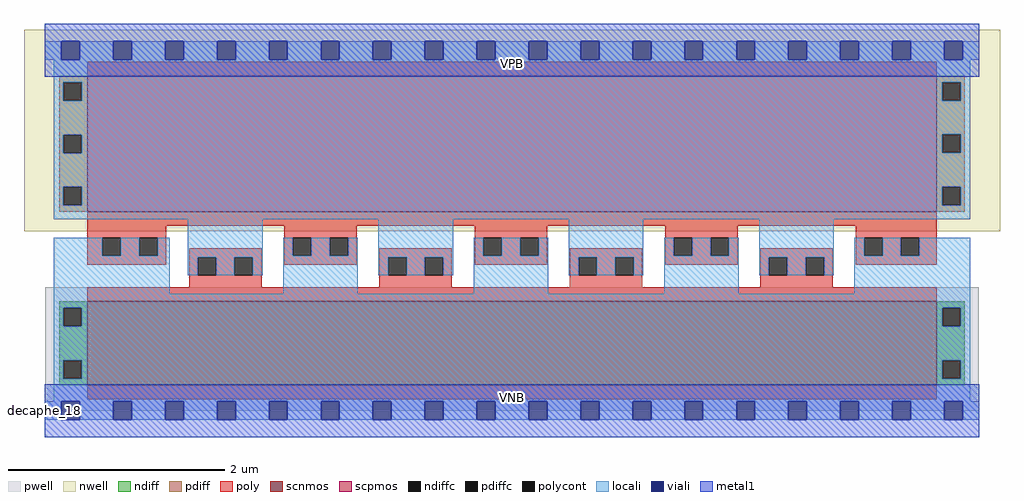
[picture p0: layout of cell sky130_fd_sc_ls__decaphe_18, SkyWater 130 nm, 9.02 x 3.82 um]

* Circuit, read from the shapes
.subckt sky130_fd_sc_ls__decaphe_18 VGND VNB VPB VPWR
XM1 VGND VPWR VGND VNB sky130_fd_pr__nfet_01v8 w=0.775 l=7.85
XM2 VPWR VGND VPWR VPB sky130_fd_pr__pfet_01v8 w=1.255 l=7.85
.ends

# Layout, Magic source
magic
tech sky130A
magscale 1 2
<< nwell >>
rect -38 332 1766 704
<< pwell >>
rect 1 49 1727 228
rect 0 0 1728 49
<< scnmos >>
rect 79 47 1649 202
<< scpmos >>
rect 79 368 1649 619
<< ndiff >>
rect 27 190 79 202
rect 27 156 35 190
rect 69 156 79 190
rect 27 93 79 156
rect 27 59 35 93
rect 69 59 79 93
rect 27 47 79 59
rect 1649 190 1701 202
rect 1649 156 1659 190
rect 1693 156 1701 190
rect 1649 93 1701 156
rect 1649 59 1659 93
rect 1693 59 1701 93
rect 1649 47 1701 59
<< pdiff >>
rect 27 607 79 619
rect 27 573 35 607
rect 69 573 79 607
rect 27 510 79 573
rect 27 476 35 510
rect 69 476 79 510
rect 27 414 79 476
rect 27 380 35 414
rect 69 380 79 414
rect 27 368 79 380
rect 1649 607 1701 619
rect 1649 573 1659 607
rect 1693 573 1701 607
rect 1649 511 1701 573
rect 1649 477 1659 511
rect 1693 477 1701 511
rect 1649 414 1701 477
rect 1649 380 1659 414
rect 1693 380 1701 414
rect 1649 368 1701 380
<< ndiffc >>
rect 35 156 69 190
rect 35 59 69 93
rect 1659 156 1693 190
rect 1659 59 1693 93
<< pdiffc >>
rect 35 573 69 607
rect 35 476 69 510
rect 35 380 69 414
rect 1659 573 1693 607
rect 1659 477 1693 511
rect 1659 380 1693 414
<< poly >>
rect 79 619 1649 645
rect 79 342 1649 368
rect 79 320 225 342
rect 79 286 107 320
rect 141 286 175 320
rect 209 286 225 320
rect 443 320 577 342
rect 79 270 225 286
rect 267 284 401 300
rect 267 250 283 284
rect 317 250 351 284
rect 385 250 401 284
rect 443 286 459 320
rect 493 286 527 320
rect 561 286 577 320
rect 795 320 929 342
rect 443 270 577 286
rect 619 284 753 300
rect 267 228 401 250
rect 619 250 635 284
rect 669 250 703 284
rect 737 250 753 284
rect 795 286 811 320
rect 845 286 879 320
rect 913 286 929 320
rect 1147 320 1281 342
rect 795 270 929 286
rect 971 284 1105 300
rect 619 228 753 250
rect 971 250 987 284
rect 1021 250 1055 284
rect 1089 250 1105 284
rect 1147 286 1163 320
rect 1197 286 1231 320
rect 1265 286 1281 320
rect 1499 320 1649 342
rect 1147 270 1281 286
rect 1323 284 1457 300
rect 971 228 1105 250
rect 1323 250 1339 284
rect 1373 250 1407 284
rect 1441 250 1457 284
rect 1499 286 1515 320
rect 1549 286 1583 320
rect 1617 286 1649 320
rect 1499 270 1649 286
rect 1323 228 1457 250
rect 79 202 1649 228
rect 79 21 1649 47
<< polycont >>
rect 107 286 141 320
rect 175 286 209 320
rect 283 250 317 284
rect 351 250 385 284
rect 459 286 493 320
rect 527 286 561 320
rect 635 250 669 284
rect 703 250 737 284
rect 811 286 845 320
rect 879 286 913 320
rect 987 250 1021 284
rect 1055 250 1089 284
rect 1163 286 1197 320
rect 1231 286 1265 320
rect 1339 250 1373 284
rect 1407 250 1441 284
rect 1515 286 1549 320
rect 1583 286 1617 320
<< locali >>
rect 0 649 31 683
rect 65 649 127 683
rect 161 649 223 683
rect 257 649 319 683
rect 353 649 415 683
rect 449 649 511 683
rect 545 649 607 683
rect 641 649 703 683
rect 737 649 799 683
rect 833 649 895 683
rect 929 649 991 683
rect 1025 649 1087 683
rect 1121 649 1183 683
rect 1217 649 1279 683
rect 1313 649 1375 683
rect 1409 649 1471 683
rect 1505 649 1567 683
rect 1601 649 1663 683
rect 1697 649 1728 683
rect 17 607 1711 649
rect 17 573 35 607
rect 69 573 1659 607
rect 1693 573 1711 607
rect 17 511 1711 573
rect 17 510 1659 511
rect 17 476 35 510
rect 69 477 1659 510
rect 1693 477 1711 511
rect 69 476 1711 477
rect 17 414 1711 476
rect 17 380 35 414
rect 69 380 1659 414
rect 1693 380 1711 414
rect 17 354 1711 380
rect 17 286 107 320
rect 141 286 175 320
rect 209 286 231 320
rect 17 216 231 286
rect 265 284 403 354
rect 265 250 283 284
rect 317 250 351 284
rect 385 250 403 284
rect 441 286 459 320
rect 493 286 527 320
rect 561 286 579 320
rect 441 216 579 286
rect 617 284 755 354
rect 617 250 635 284
rect 669 250 703 284
rect 737 250 755 284
rect 793 286 811 320
rect 845 286 879 320
rect 913 286 931 320
rect 793 216 931 286
rect 969 284 1107 354
rect 969 250 987 284
rect 1021 250 1055 284
rect 1089 250 1107 284
rect 1145 286 1163 320
rect 1197 286 1231 320
rect 1265 286 1283 320
rect 1145 216 1283 286
rect 1321 284 1459 354
rect 1321 250 1339 284
rect 1373 250 1407 284
rect 1441 250 1459 284
rect 1497 286 1515 320
rect 1549 286 1583 320
rect 1617 286 1711 320
rect 1497 216 1711 286
rect 17 190 1711 216
rect 17 156 35 190
rect 69 156 1659 190
rect 1693 156 1711 190
rect 17 93 1711 156
rect 17 59 35 93
rect 69 59 1659 93
rect 1693 59 1711 93
rect 17 17 1711 59
rect 0 -17 31 17
rect 65 -17 127 17
rect 161 -17 223 17
rect 257 -17 319 17
rect 353 -17 415 17
rect 449 -17 511 17
rect 545 -17 607 17
rect 641 -17 703 17
rect 737 -17 799 17
rect 833 -17 895 17
rect 929 -17 991 17
rect 1025 -17 1087 17
rect 1121 -17 1183 17
rect 1217 -17 1279 17
rect 1313 -17 1375 17
rect 1409 -17 1471 17
rect 1505 -17 1567 17
rect 1601 -17 1663 17
rect 1697 -17 1728 17
<< viali >>
rect 31 649 65 683
rect 127 649 161 683
rect 223 649 257 683
rect 319 649 353 683
rect 415 649 449 683
rect 511 649 545 683
rect 607 649 641 683
rect 703 649 737 683
rect 799 649 833 683
rect 895 649 929 683
rect 991 649 1025 683
rect 1087 649 1121 683
rect 1183 649 1217 683
rect 1279 649 1313 683
rect 1375 649 1409 683
rect 1471 649 1505 683
rect 1567 649 1601 683
rect 1663 649 1697 683
rect 31 -17 65 17
rect 127 -17 161 17
rect 223 -17 257 17
rect 319 -17 353 17
rect 415 -17 449 17
rect 511 -17 545 17
rect 607 -17 641 17
rect 703 -17 737 17
rect 799 -17 833 17
rect 895 -17 929 17
rect 991 -17 1025 17
rect 1087 -17 1121 17
rect 1183 -17 1217 17
rect 1279 -17 1313 17
rect 1375 -17 1409 17
rect 1471 -17 1505 17
rect 1567 -17 1601 17
rect 1663 -17 1697 17
<< metal1 >>
rect 0 683 1728 715
rect 0 649 31 683
rect 65 649 127 683
rect 161 649 223 683
rect 257 649 319 683
rect 353 649 415 683
rect 449 649 511 683
rect 545 649 607 683
rect 641 649 703 683
rect 737 649 799 683
rect 833 649 895 683
rect 929 649 991 683
rect 1025 649 1087 683
rect 1121 649 1183 683
rect 1217 649 1279 683
rect 1313 649 1375 683
rect 1409 649 1471 683
rect 1505 649 1567 683
rect 1601 649 1663 683
rect 1697 649 1728 683
rect 0 617 1728 649
rect 0 17 1728 49
rect 0 -17 31 17
rect 65 -17 127 17
rect 161 -17 223 17
rect 257 -17 319 17
rect 353 -17 415 17
rect 449 -17 511 17
rect 545 -17 607 17
rect 641 -17 703 17
rect 737 -17 799 17
rect 833 -17 895 17
rect 929 -17 991 17
rect 1025 -17 1087 17
rect 1121 -17 1183 17
rect 1217 -17 1279 17
rect 1313 -17 1375 17
rect 1409 -17 1471 17
rect 1505 -17 1567 17
rect 1601 -17 1663 17
rect 1697 -17 1728 17
rect 0 -49 1728 -17
<< labels >>
flabel pwell s 0 0 1728 49 0 FreeSans 200 0 0 0 VNB
port 2 nsew ground bidirectional
flabel nwell s 0 617 1728 666 0 FreeSans 200 0 0 0 VPB
port 3 nsew power bidirectional
rlabel comment s 0 0 0 0 4 decaphe_18
flabel metal1 s 0 0 1728 49 0 FreeSans 340 0 0 0 VGND
port 1 nsew ground bidirectional abutment
flabel metal1 s 0 617 1728 666 0 FreeSans 340 0 0 0 VPWR
port 4 nsew power bidirectional abutment
<< properties >>
string LEFsite unit
string LEFclass CORE
string FIXED_BBOX 0 0 1728 666
string GDS_FILE $PDKPATH/libs.ref/sky130_fd_sc_ls/gds/sky130_fd_sc_ls.gds
string LEFsymmetry X Y
string GDS_END 3454940
string GDS_START 3448844
<< end >>
